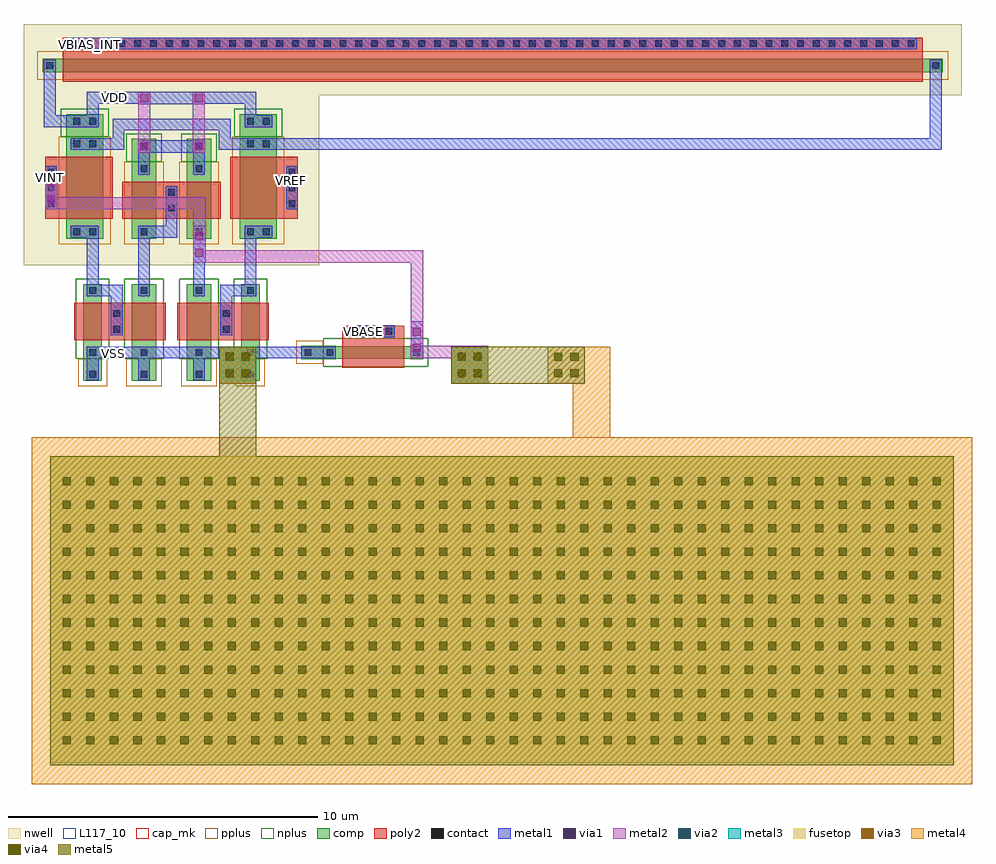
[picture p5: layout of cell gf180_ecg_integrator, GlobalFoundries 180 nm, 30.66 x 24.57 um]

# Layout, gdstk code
from math import pi, radians
import gdstk
lib = gdstk.Library(unit=1e-6, precision=1e-09)
def R(c, l, rs):  # rectangles x0, y0, x1, y1
    for r in rs: c.add(gdstk.rectangle(r[:2], r[2:], *l))
def A(c, l, x, y, w, h, nx, ny, dx, dy):  # array of equal rectangles
    R(c, l, [(x+i*dx, y+j*dy, x+i*dx+w, y+j*dy+h) for i in range(nx) for j in range(ny)])
def P(c, l, *ps):  # polygons
    for p in ps: c.add(gdstk.Polygon(p, *l))
nwell = (21, 0)
comp = (22, 0)
poly2 = (30, 0)
pplus = (31, 0)
nplus = (32, 0)
contact = (33, 0)
metal1 = (34, 0)
via1 = (35, 0)
metal2 = (36, 0)
via2 = (38, 0)
via3 = (40, 0)
via4 = (41, 0)
metal3 = (42, 0)
metal4 = (46, 0)
fusetop = (75, 0)
metal5 = (81, 0)
cap_mk = (117, 5)
L117_10 = (117, 10)

pfet_2_1_2 = lib.new_cell('pfet$2$1$2')
R(pfet_2_1_2, nwell, [(-1.32,-0.99,3.63,2.17)])
R(pfet_2_1_2, comp, [(-0.46,0,2.77,0.8)])
R(pfet_2_1_2, poly2, [(0.19,-0.3,1.39,1.48)])
R(pfet_2_1_2, pplus, [(-0.63,-0.24,2.04,1.04)])
R(pfet_2_1_2, nplus, [(2.04,-0.17,2.94,0.97)])
R(pfet_2_1_2, contact, [(-0.34,0.29,-0.12,0.51), (1.7,0.29,1.92,0.51), (2.43,0.29,2.65,0.51), (0.425,1.18,0.645,1.4), (0.935,1.18,1.155,1.4)])
R(pfet_2_1_2, metal1, [(-0.42,0.21,-0.04,0.59), (1.62,0.21,2,0.59), (2.35,0.21,2.73,0.59), (0.345,1.1,1.235,1.48)])

nfet_2_1_1 = lib.new_cell('nfet$2$1$1')
R(nfet_2_1_1, comp, [(-0.42,0,2.71,0.8)])
R(nfet_2_1_1, poly2, [(0.19,-0.66,1.39,1.1)])
R(nfet_2_1_1, pplus, [(2,-0.17,2.88,0.97)])
R(nfet_2_1_1, nplus, [(-0.59,-0.24,2,1.04)])
R(nfet_2_1_1, contact, [(0.425,-0.59,0.645,-0.37), (0.935,-0.59,1.155,-0.37), (-0.32,0.29,-0.1,0.51), (1.68,0.29,1.9,0.51), (2.39,0.29,2.61,0.51)])
R(nfet_2_1_1, metal1, [(0.345,-0.67,1.235,-0.29), (-0.4,0.21,-0.02,0.59), (1.6,0.21,1.98,0.59), (2.31,0.21,2.69,0.59)])

nfet_3_2 = lib.new_cell('nfet$3$2')
R(nfet_3_2, comp, [(-0.42,0,2.71,0.6)])
R(nfet_3_2, poly2, [(0.19,-0.3,1.39,1.26)])
R(nfet_3_2, pplus, [(2,-0.17,2.88,0.77)])
R(nfet_3_2, nplus, [(-0.59,-0.24,2,0.84)])
R(nfet_3_2, contact, [(-0.32,0.19,-0.1,0.41), (1.68,0.19,1.9,0.41), (2.39,0.19,2.61,0.41), (0.425,0.97,0.645,1.19), (0.935,0.97,1.155,1.19)])
R(nfet_3_2, metal1, [(-0.4,0.11,-0.02,0.49), (1.6,0.11,1.98,0.49), (2.31,0.11,2.69,0.49), (0.345,0.89,1.235,1.27)])

pfet_5_1 = lib.new_cell('pfet$5$1')
R(pfet_5_1, nwell, [(-1.32,-0.99,4.43,2.57)])
R(pfet_5_1, comp, [(-0.46,0,3.57,1.2)])
R(pfet_5_1, poly2, [(0.19,-0.3,2.19,1.88)])
R(pfet_5_1, pplus, [(-0.63,-0.24,2.84,1.44)])
R(pfet_5_1, nplus, [(2.84,-0.17,3.74,1.37)])
A(pfet_5_1, contact, 0.57, 1.58, 0.22, 0.22, 3, 1, 0.51, 0)
R(pfet_5_1, contact, [(-0.34,0.235,-0.12,0.455), (2.5,0.235,2.72,0.455), (3.23,0.235,3.45,0.455), (-0.34,0.745,-0.12,0.965), (2.5,0.745,2.72,0.965), (3.23,0.745,3.45,0.965)])
R(pfet_5_1, metal1, [(-0.42,0.155,-0.04,1.045), (2.42,0.155,2.8,1.045), (3.15,0.155,3.53,1.045), (0.49,1.5,1.89,1.88)])

pfet_3_2 = lib.new_cell('pfet$3$2')
R(pfet_3_2, nwell, [(-1.07,-0.74,29.25,1.56)])
R(pfet_3_2, comp, [(-0.46,0,28.64,0.44)])
R(pfet_3_2, poly2, [(0.19,-0.3,27.99,1.12)])
R(pfet_3_2, pplus, [(-0.63,-0.24,28.81,0.68)])
A(pfet_3_2, contact, 0.465, 0.82, 0.22, 0.22, 54, 1, 0.51, 0)
R(pfet_3_2, contact, [(-0.34,0.11,-0.12,0.33), (28.3,0.11,28.52,0.33)])
R(pfet_3_2, metal1, [(-0.42,0.03,-0.04,0.41), (28.22,0.03,28.6,0.41), (0.385,0.74,27.795,1.12)])

via_dev_4_1 = lib.new_cell('via_dev$4$1')
R(via_dev_4_1, metal1, [(0,0,0.4,0.4)])
R(via_dev_4_1, via1, [(0.07,0.07,0.33,0.33)])
R(via_dev_4_1, metal2, [(0,0,0.4,0.4)])

gf180_9t_integrator = lib.new_cell('gf180_9T_integrator')
R(gf180_9t_integrator, nwell, [(5.325,4.79,7.755,5.345)])
R(gf180_9t_integrator, metal1, [(3.8,-3.49,4.18,-3.16), (5.46,-3.49,5.84,-3.16), (7.24,-3.49,7.62,-3.16), (8.9,-3.49,9.28,-3.16), (5.46,3.16,5.84,3.51), (7.24,3.16,7.62,3.51)])
gf180_9t_integrator.add(gdstk.FlexPath([(3.48,4.5),(2.605,4.5),(2.605,6.305)], 0.38, ends="flush", simple_path=True, layer=34, datatype=0))  # metal1
gf180_9t_integrator.add(gdstk.FlexPath([(31.245,6.355),(31.245,3.77),(8.26,3.77),(8.26,4.4),(4.825,4.4),(4.825,3.77),(3.99,3.77)], 0.38, ends="flush", simple_path=True, layer=34, datatype=0))  # metal1
gf180_9t_integrator.add(gdstk.FlexPath([(9.09,4.5),(9.09,5.265),(4.04,5.265)], 0.38, ends="flush", simple_path=True, layer=34, datatype=0))  # metal1
gf180_9t_integrator.add(gdstk.FlexPath([(3.99,4.5),(3.99,5.455)], 0.38, ends="flush", simple_path=True, layer=34, datatype=0))  # metal1
gf180_9t_integrator.add(gdstk.FlexPath([(3.99,-0.97),(3.99,0.93)], 0.38, ends="flush", simple_path=True, layer=34, datatype=0))  # metal1
gf180_9t_integrator.add(gdstk.FlexPath([(4.77,-1.715),(4.77,-0.97),(3.99,-0.97)], 0.38, ends="flush", simple_path=True, layer=34, datatype=0))  # metal1
gf180_9t_integrator.add(gdstk.FlexPath([(5.65,-0.97),(5.65,0.931)], 0.38, ends="flush", simple_path=True, layer=34, datatype=0))  # metal1
gf180_9t_integrator.add(gdstk.FlexPath([(6.54,1.695),(6.54,0.93),(5.65,0.93)], 0.38, ends="flush", simple_path=True, layer=34, datatype=0))  # metal1
gf180_9t_integrator.add(gdstk.FlexPath([(9.09,-0.97),(9.09,0.93)], 0.38, ends="flush", simple_path=True, layer=34, datatype=0))  # metal1
gf180_9t_integrator.add(gdstk.FlexPath([(8.31,-1.715),(8.31,-0.97),(9.09,-0.97)], 0.38, ends="flush", simple_path=True, layer=34, datatype=0))  # metal1
gf180_9t_integrator.add(gdstk.FlexPath([(7.43,-0.97),(7.43,0.931)], 0.38, ends="flush", simple_path=True, layer=34, datatype=0))  # metal1
gf180_9t_integrator.add(gdstk.FlexPath([(7.421,3.69),(5.632,3.69)], 0.4, ends="flush", simple_path=True, layer=34, datatype=0))  # metal1
gf180_9t_integrator.add(gdstk.FlexPath([(5.664,5.245),(7.421,5.245)], 0.4, ends="flush", simple_path=True, layer=34, datatype=0))  # metal1
gf180_9t_integrator.add(gdstk.FlexPath([(3.99,-2.97),(9.09,-2.97)], 0.38, ends="flush", simple_path=True, layer=34, datatype=0))  # metal1
gf180_9t_integrator.add(gdstk.FlexPath([(5.66,5.249),(5.66,3.65)], 0.4, ends="flush", simple_path=True, layer=36, datatype=0))  # metal2
gf180_9t_integrator.add(gdstk.FlexPath([(7.42,5.249),(7.42,3.69)], 0.4, ends="flush", simple_path=True, layer=36, datatype=0))  # metal2
gf180_9t_integrator.add(gdstk.Reference(pfet_2_1_2, (5.25,1.16), rotation=pi/2, x_reflection=True))
gf180_9t_integrator.add(gdstk.Reference(nfet_2_1_1, (5.25,-1.18), rotation=3*pi/2))
gf180_9t_integrator.add(gdstk.Reference(nfet_3_2, (3.69,-1.18), rotation=3*pi/2))
gf180_9t_integrator.add(gdstk.Reference(pfet_2_1_2, (7.83,1.16), rotation=pi/2))
gf180_9t_integrator.add(gdstk.Reference(nfet_2_1_1, (7.83,-1.18), rotation=3*pi/2, x_reflection=True))
gf180_9t_integrator.add(gdstk.Reference(pfet_5_1, (8.745,1.16), rotation=pi/2, x_reflection=True))
gf180_9t_integrator.add(gdstk.Reference(nfet_3_2, (9.39,-1.18), rotation=3*pi/2, x_reflection=True))
gf180_9t_integrator.add(gdstk.Reference(pfet_3_2, (31.015,6.085), rotation=pi, x_reflection=True))
gf180_9t_integrator.add(gdstk.Reference(via_dev_4_1, (5.46,3.49)))
gf180_9t_integrator.add(gdstk.Reference(via_dev_4_1, (7.22,3.49)))
gf180_9t_integrator.add(gdstk.Reference(via_dev_4_1, (5.46,5.045)))
gf180_9t_integrator.add(gdstk.Reference(via_dev_4_1, (7.22,5.045)))
gf180_9t_integrator.add(gdstk.Reference(pfet_5_1, (4.335,1.16), rotation=pi/2))
gf180_9t_integrator.add(gdstk.Label('VBIAS', (16.13,6.975), layer=34, texttype=10))
gf180_9t_integrator.add(gdstk.Label('VDD', (2.464,5.914), layer=34, texttype=10))
gf180_9t_integrator.add(gdstk.Label('VINP', (2.568,2.06), layer=34, texttype=10))
gf180_9t_integrator.add(gdstk.Label('VINN', (10.342,2.09), layer=34, texttype=10))
gf180_9t_integrator.add(gdstk.Label('VOUT', (7.359,-0.412), layer=34, texttype=10))
gf180_9t_integrator.add(gdstk.Label('VSS', (5.615,-3.39), layer=34, texttype=10))

nfet_9 = lib.new_cell('nfet$9')
P(nfet_9, comp, [(-0.42,-0.02),(-0.42,0.42),(0,0.42),(0,0.4),(2.38,0.4),(2.38,0.42),(3.51,0.42),(3.51,-0.02),(2.38,-0.02),(2.38,0),(0,0),(0,-0.02)])
R(nfet_9, poly2, [(0.19,-0.3,2.19,1.06)])
R(nfet_9, pplus, [(2.8,-0.17,3.68,0.57)])
R(nfet_9, nplus, [(-0.59,-0.26,2.8,0.66)])
A(nfet_9, contact, 0.57, 0.77, 0.22, 0.22, 3, 1, 0.51, 0)
R(nfet_9, contact, [(-0.32,0.09,-0.1,0.31), (2.48,0.09,2.7,0.31), (3.19,0.09,3.41,0.31)])
R(nfet_9, metal1, [(-0.4,0.01,-0.02,0.39), (2.4,0.01,2.78,0.39), (3.11,0.01,3.49,0.39), (0.49,0.69,1.89,1.07)])

via_dev_40 = lib.new_cell('via_dev$40')
R(via_dev_40, metal1, [(0,0,0.4,1.2)])
R(via_dev_40, via1, [(0.07,0.205,0.33,0.465), (0.07,0.735,0.33,0.995)])
R(via_dev_40, metal2, [(0,0,0.4,1.2)])

cap_mim_5 = lib.new_cell('cap_mim$5')
A(cap_mim_5, via4, 0.41, 0.69, 0.26, 0.26, 38, 12, 0.76, 0.76)
R(cap_mim_5, metal4, [(-0.6,-0.6,29.8,10.6)])
R(cap_mim_5, fusetop, [(0,0,29.2,10)])
R(cap_mim_5, metal5, [(0,0,29.2,10)])
R(cap_mim_5, cap_mk, [(-0.6,-0.6,29.8,10.6)])
R(cap_mim_5, L117_10, [(0,0,29.2,0.1)])

via_dev_2_5 = lib.new_cell('via_dev$2$5')
R(via_dev_2_5, metal1, [(0,0,1.2,1.2)])
R(via_dev_2_5, via1, [(0.205,0.205,0.465,0.465), (0.735,0.205,0.995,0.465), (0.205,0.735,0.465,0.995), (0.735,0.735,0.995,0.995)])
R(via_dev_2_5, metal2, [(0,0,1.2,1.2)])
R(via_dev_2_5, via2, [(0.205,0.205,0.465,0.465), (0.735,0.205,0.995,0.465), (0.205,0.735,0.465,0.995), (0.735,0.735,0.995,0.995)])
R(via_dev_2_5, via3, [(0.205,0.205,0.465,0.465), (0.735,0.205,0.995,0.465), (0.205,0.735,0.465,0.995), (0.735,0.735,0.995,0.995)])
R(via_dev_2_5, via4, [(0.205,0.205,0.465,0.465), (0.735,0.205,0.995,0.465), (0.205,0.735,0.465,0.995), (0.735,0.735,0.995,0.995)])
R(via_dev_2_5, metal3, [(0,0,1.2,1.2)])
R(via_dev_2_5, metal4, [(0,0,1.2,1.2)])
R(via_dev_2_5, metal5, [(0,0,1.2,1.2)])

via_dev_7_3 = lib.new_cell('via_dev$7$3')
R(via_dev_7_3, via4, [(0.205,0.205,0.465,0.465), (0.735,0.205,0.995,0.465), (0.205,0.735,0.465,0.995), (0.735,0.735,0.995,0.995)])
R(via_dev_7_3, metal4, [(0,0,1.2,1.2)])
R(via_dev_7_3, metal5, [(0,0,1.2,1.2)])

via_dev_5_1 = lib.new_cell('via_dev$5$1')
R(via_dev_5_1, metal2, [(0,0,1.2,1.2)])
R(via_dev_5_1, via2, [(0.205,0.205,0.465,0.465), (0.735,0.205,0.995,0.465), (0.205,0.735,0.465,0.995), (0.735,0.735,0.995,0.995)])
R(via_dev_5_1, via3, [(0.205,0.205,0.465,0.465), (0.735,0.205,0.995,0.465), (0.205,0.735,0.465,0.995), (0.735,0.735,0.995,0.995)])
R(via_dev_5_1, via4, [(0.205,0.205,0.465,0.465), (0.735,0.205,0.995,0.465), (0.205,0.735,0.465,0.995), (0.735,0.735,0.995,0.995)])
R(via_dev_5_1, metal3, [(0,0,1.2,1.2)])
R(via_dev_5_1, metal4, [(0,0,1.2,1.2)])
R(via_dev_5_1, metal5, [(0,0,1.2,1.2)])

gf180_ecg_integrator = lib.new_cell('gf180_ecg_integrator')
R(gf180_ecg_integrator, metal4, [(22.975,-6.325,24.175,-2.78)])
R(gf180_ecg_integrator, metal5, [(11.54,-6.325,12.74,-2.78), (19.64,-3.98,22.76,-2.78)])
gf180_ecg_integrator.add(gdstk.FlexPath([(10.89,-2.97),(15.15,-2.97)], 0.38, ends="flush", simple_path=True, layer=34, datatype=0))  # metal1
gf180_ecg_integrator.add(gdstk.FlexPath([(10.9,0.125),(17.93,0.125),(17.93,-2.295)], 0.4, ends="flush", simple_path=True, layer=36, datatype=0))  # metal2
gf180_ecg_integrator.add(gdstk.FlexPath([(17.93,-2.955),(20.24,-2.955)], 0.4, ends="flush", simple_path=True, layer=36, datatype=0))  # metal2
gf180_ecg_integrator.add(gdstk.FlexPath([(6.115,1.85),(10.9,1.85),(10.9,0.955)], 0.4, ends="flush", simple_path=True, layer=36, datatype=0))  # metal2
gf180_ecg_integrator.add(gdstk.Reference(gf180_9t_integrator, (3.46,0)))
gf180_ecg_integrator.add(gdstk.Reference(nfet_9, (17.71,-3.17), rotation=pi, x_reflection=True))
gf180_ecg_integrator.add(gdstk.Reference(via_dev_40, (17.73,-3.16)))
gf180_ecg_integrator.add(gdstk.Reference(cap_mim_5, (6.08,-16.32)))
gf180_ecg_integrator.add(gdstk.Reference(via_dev_40, (10.7,-0.08)))
gf180_ecg_integrator.add(gdstk.Reference(via_dev_40, (5.915,1.65)))
gf180_ecg_integrator.add(gdstk.Reference(via_dev_2_5, (11.54,-3.98)))
gf180_ecg_integrator.add(gdstk.Reference(via_dev_7_3, (22.16,-3.98)))
gf180_ecg_integrator.add(gdstk.Reference(via_dev_5_1, (19.04,-3.98)))
gf180_ecg_integrator.add(gdstk.Label('VBIAS_INT', (7.335,6.97), layer=34, texttype=10))
gf180_ecg_integrator.add(gdstk.Label('VSS', (8.136,-3.019), layer=34, texttype=10))
gf180_ecg_integrator.add(gdstk.Label('VINT', (6.045,2.69), layer=34, texttype=10))
gf180_ecg_integrator.add(gdstk.Label('VBASE', (16.22,-2.31), layer=34, texttype=10))
gf180_ecg_integrator.add(gdstk.Label('VDD', (8.17,5.265), layer=34, texttype=10))
gf180_ecg_integrator.add(gdstk.Label('VREF', (13.87,2.58), layer=34, texttype=10))

lib.write_gds('gf180_ecg_integrator.gds')
